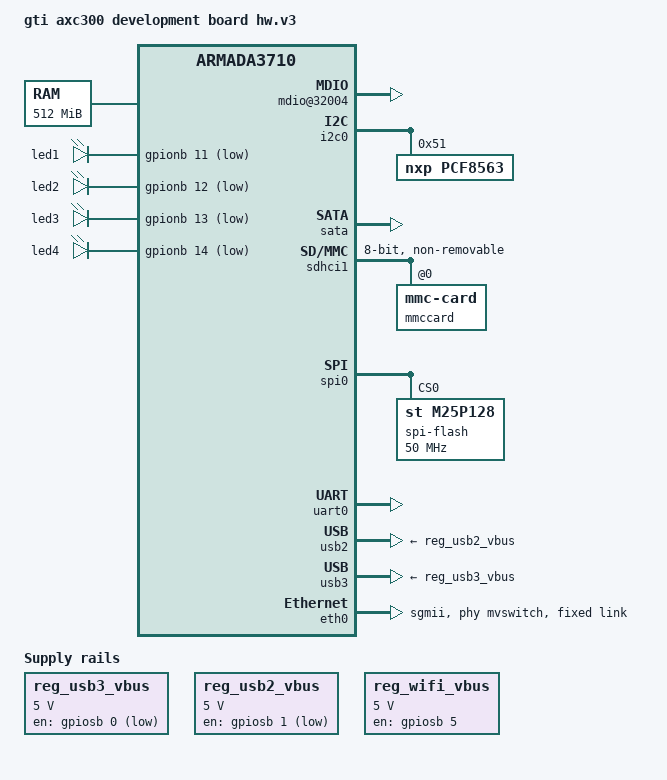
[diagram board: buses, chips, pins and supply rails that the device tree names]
/*
 * Device Tree file for GTI Armada 3720 axc300 board hw.v3
 *
 * Copyright (C) 2016 Marvell
 *
 * Gregory CLEMENT <gregory.clement@free-electrons.com>
 * Konstantin Porotchkin <kostap@marvell.com>
 *
 * This file is dual-licensed: you can use it either under the terms
 * of the GPL or the X11 license, at your option. Note that this dual
 * licensing only applies to this file, and not this project as a
 * whole.
 *
 *  a) This file is free software; you can redistribute it and/or
 *     modify it under the terms of the GNU General Public License as
 *     published by the Free Software Foundation; either version 2 of the
 *     License, or (at your option) any later version.
 *
 *     This file is distributed in the hope that it will be useful
 *     but WITHOUT ANY WARRANTY; without even the implied warranty of
 *     MERCHANTABILITY or FITNESS FOR A PARTICULAR PURPOSE.  See the
 *     GNU General Public License for more details.
 *
 * Or, alternatively
 *
 *  b) Permission is hereby granted, free of charge, to any person
 *     obtaining a copy of this software and associated documentation
 *     files (the "Software"), to deal in the Software without
 *     restriction, including without limitation the rights to use
 *     copy, modify, merge, publish, distribute, sublicense, and/or
 *     sell copies of the Software, and to permit persons to whom the
 *     Software is furnished to do so, subject to the following
 *     conditions:
 *
 *     The above copyright notice and this permission notice shall be
 *     included in all copies or substantial portions of the Software.
 *
 *     THE SOFTWARE IS PROVIDED , WITHOUT WARRANTY OF ANY KIND
 *     EXPRESS OR IMPLIED, INCLUDING BUT NOT LIMITED TO THE WARRANTIES
 *     OF MERCHANTABILITY, FITNESS FOR A PARTICULAR PURPOSE AND
 *     NONINFRINGEMENT. IN NO EVENT SHALL THE AUTHORS OR COPYRIGHT
 *     HOLDERS BE LIABLE FOR ANY CLAIM, DAMAGES OR OTHER LIABILITY
 *     WHETHER IN AN ACTION OF CONTRACT, TORT OR OTHERWISE, ARISING
 *     FROM, OUT OF OR IN CONNECTION WITH THE SOFTWARE OR THE USE OR
 *     OTHER DEALINGS IN THE SOFTWARE.
 */

/dts-v1/;

#include "armada-372x.dtsi"

/ {
	model = "gti axc300 development board hw.v3";
	compatible = "gti,armada-3720-axc300-v3", "marvell,armada3720",
				 "marvell,armada3720", "marvell,armada3710";

	chosen {
		stdout-path = "serial0:115200n8";
	};

	aliases {
		ethernet0 = &eth0;
		i2c0 = &i2c0;
		spi0 = &spi0;
	};

	memory {
		device_type = "memory";
		reg = <0x00000000 0x00000000 0x00000000 0x20000000>;
	};

	reg_usb3_vbus: usb3_vbus@0 {
		compatible = "regulator-fixed";
		regulator-name = "usb3-vbus";
		regulator-min-microvolt = <5000000>;
		regulator-max-microvolt = <5000000>;
		shutdown-delay-us = <1000000>;
		gpio = <&gpiosb 0 GPIO_ACTIVE_HIGH>;
	};

	reg_usb2_vbus: usb2-vbus {
		compatible = "regulator-fixed";
		regulator-name = "usb2-vbus";
		regulator-min-microvolt = <5000000>;
		regulator-max-microvolt = <5000000>;
		gpio = <&gpiosb 1 GPIO_ACTIVE_HIGH>;
	};

	reg_wifi_vbus: wifi-vbus {
		compatible = "regulator-fixed";
		regulator-name = "wifi-vbus";
		regulator-min-microvolt = <5000000>;
		regulator-max-microvolt = <5000000>;
		enable-active-high;
		regulator-boot-on;
		regulator-always-on;
		gpio = <&gpiosb 5 GPIO_ACTIVE_HIGH>;
	};

	mdio@32004 {
		#address-cells = <1>;
		#size-cells = <0>;
		status = "okay";

		mvswitch: switch@000000{
			compatible = "marvell,mv88e6xxx";
			status = "okay";
			phy-addr = <3>;
			cpu-port = <0x5>;
			port-mask = <0x3f>;
		};
	};

	gpio-leds {
		pinctrl-names = "default";
		pinctrl-0 = <&led1_pins>, <&led2_pins>, <&led3_pins>, <&led4_pins>;

		compatible = "gpio-leds";

		led1 {
			label = "led1";
			gpios = <&gpionb 11 GPIO_ACTIVE_LOW>;
			default-state = "on";
		};
		led2 {
			label = "led2";
			gpios = <&gpionb 12 GPIO_ACTIVE_LOW>;
			default-state = "on";
		};
		led3 {
			label = "led3";
			gpios = <&gpionb 13 GPIO_ACTIVE_LOW>;
			default-state = "on";
		};
		led4 {
			label = "led4";
			gpios = <&gpionb 14 GPIO_ACTIVE_LOW>;
			default-state = "on";
		};
	};
};

&pinctrl_nb {
	led1_pins: led1-pins {
		groups = "pwm0";
		function = "gpio";
	};
	led2_pins: led2-pins {
		groups = "pwm1";
		function = "gpio";
	};
	led3_pins: led3-pins {
		groups = "pwm2";
		function = "gpio";
	};
	led4_pins: led4-pins {
		groups = "pwm3";
		function = "gpio";
	};
};

&comphy {
	phy0 {
		phy-type = <COMPHY_TYPE_USB3_HOST0>;
		phy-speed = <COMPHY_SPEED_5G>;
	};

	phy1 {
		phy-type = <COMPHY_TYPE_SGMII0>;
		phy-speed = <COMPHY_SPEED_1_25G>;
	};

	phy2 {
		phy-type = <COMPHY_TYPE_SATA0>;
		phy-speed = <COMPHY_SPEED_6G>;
	};
};

&i2c0 {
	pinctrl-names = "default";
	pinctrl-0 = <&i2c1_pins>;
	status = "okay";

	pcf8563: rtc@51 {
		compatible = "nxp,pcf8563";
		reg = <0x51>;
	};
};

&sata {
	status = "okay";
};

&sdhci0 {
	status = "disabled";
};

&sdhci1 {
	non-removable;
	bus-width = <8>;
	mmc-ddr-1_8v;
	mmc-hs400-1_8v;
	marvell,pad-type = "fixed-1-8v";
	pinctrl-names = "default";
	pinctrl-0 = <&mmc_pins>;
	status = "okay";

	#address-cells = <1>;
	#size-cells = <0>;
	mmccard: mmccard@0 {
		compatible = "mmc-card";
		reg = <0>;
	};
};

&spi0 {
	status = "okay";
	pinctrl-names = "default";
	pinctrl-0 = <&spi_quad_pins>;

	spi-flash@0 {
		#address-cells = <1>;
		#size-cells = <1>;
		compatible = "st,m25p128", "spi-flash";
		reg = <0>; /* Chip select 0 */
		spi-max-frequency = <50000000>;
		m25p,fast-read;
	};
};

&uart0 {
	pinctrl-names = "default";
	pinctrl-0 = <&uart1_pins>;
	status = "okay";
};

&usb2 {
	vbus-supply = <&reg_usb2_vbus>;
	status = "okay";
};

&usb3 {
	vbus-supply = <&reg_usb3_vbus>;
	status = "okay";
};

&eth0 {
	status = "okay";
	pinctrl-names = "default";
	pinctrl-0 = <&smi_pins>;
	phy-mode = "sgmii";
	phy = <&mvswitch>;

	fixed-link {
		speed = <1000>;
		full-duplex;
	};
};
